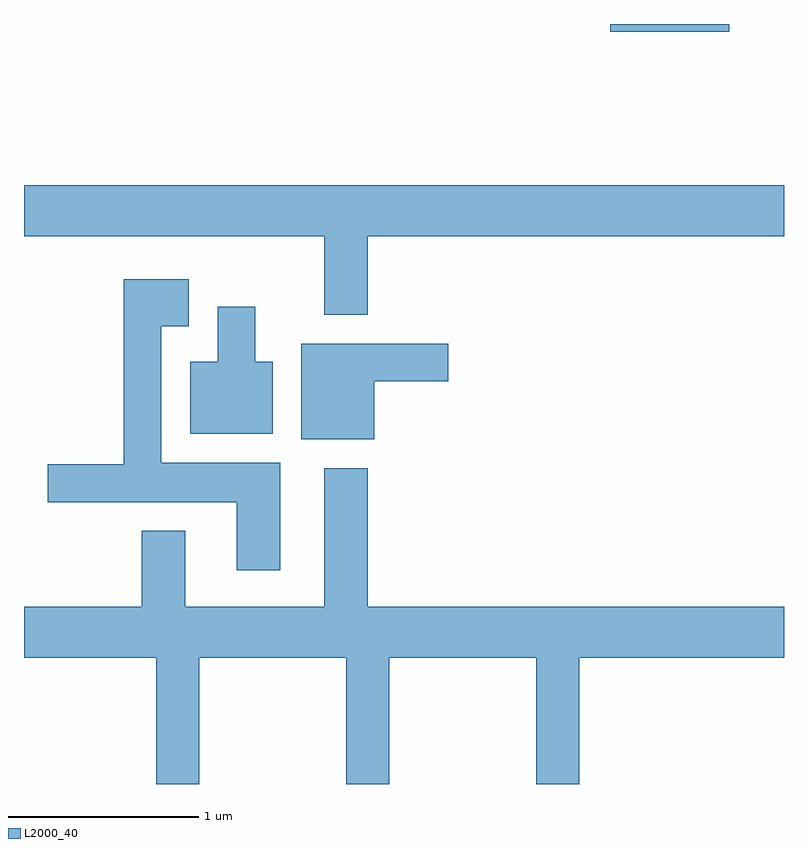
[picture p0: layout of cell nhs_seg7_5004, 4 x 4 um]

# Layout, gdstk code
import gdstk
lib = gdstk.Library(unit=1e-6, precision=1e-09)
def R(c, l, rs):  # rectangles x0, y0, x1, y1
    for r in rs: c.add(gdstk.rectangle(r[:2], r[2:], *l))
def P(c, l, *ps):  # polygons
    for p in ps: c.add(gdstk.Polygon(p, *l))
L2000_40 = (2000, 40)

nhs_seg7_5004 = lib.new_cell('nhs_seg7_5004')
R(nhs_seg7_5004, L2000_40, [(340.696,1784.211,341.324,1784.252)])
P(nhs_seg7_5004, L2000_40, [(339.419,1783.136),(341.611,1783.136),(341.611,1783.404),(337.611,1783.404),(337.611,1783.136),(339.191,1783.136),(339.191,1782.721),(339.419,1782.721)],
  [(338.959,1781.944),(338.334,1781.944),(338.334,1782.661),(338.479,1782.661),(338.479,1782.909),(338.136,1782.909),(338.136,1781.934),(337.736,1781.934),(337.736,1781.736),(338.731,1781.736),(338.731,1781.376),(338.959,1781.376)],
  [(338.919,1782.474),(338.829,1782.474),(338.829,1782.764),(338.631,1782.764),(338.631,1782.474),(338.486,1782.474),(338.486,1782.096),(338.919,1782.096)],
  [(339.454,1782.371),(339.844,1782.371),(339.844,1782.569),(339.071,1782.569),(339.071,1782.066),(339.454,1782.066)],
  [(338.534,1780.916),(339.306,1780.916),(339.306,1780.252),(339.534,1780.252),(339.534,1780.916),(340.306,1780.916),(340.306,1780.252),(340.534,1780.252),(340.534,1780.916),(341.611,1780.916),(341.611,1781.184),(339.419,1781.184),(339.419,1781.914),(339.191,1781.914),(339.191,1781.184),(338.459,1781.184),(338.459,1781.584),(338.231,1781.584),(338.231,1781.184),(337.611,1781.184),(337.611,1780.916),(338.306,1780.916),(338.306,1780.252),(338.534,1780.252)])

lib.write_gds('nhs_seg7_5004.gds')
